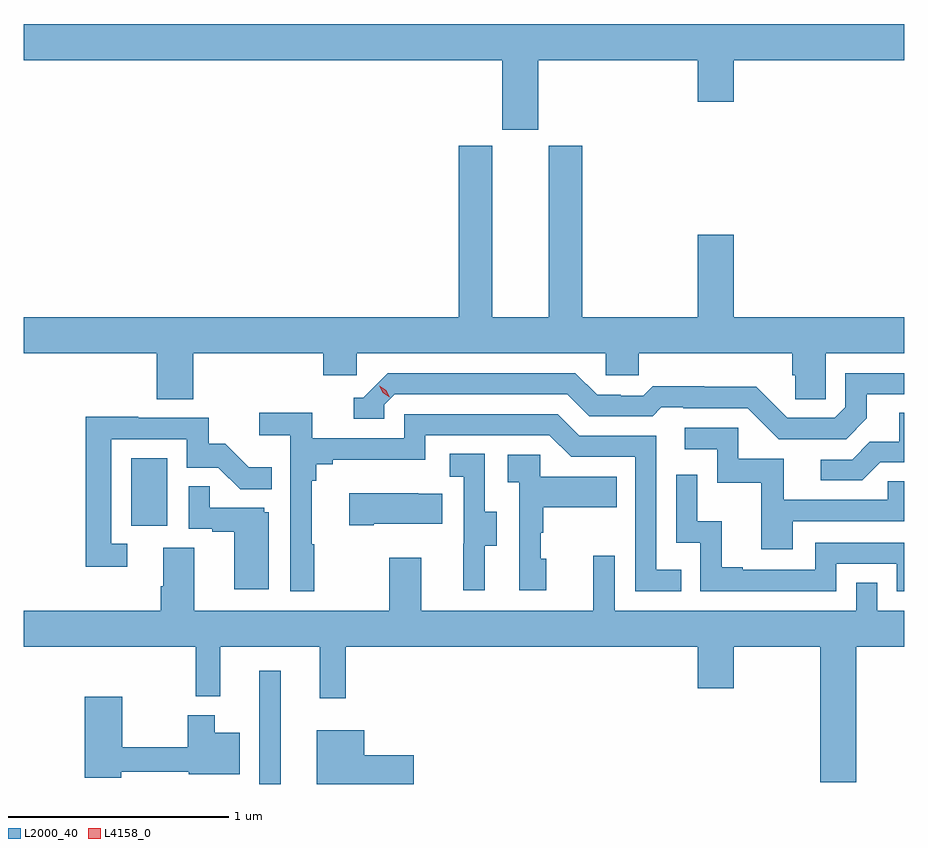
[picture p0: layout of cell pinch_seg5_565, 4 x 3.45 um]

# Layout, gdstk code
import gdstk
lib = gdstk.Library(unit=1e-6, precision=1e-09)
def R(c, l, rs):  # rectangles x0, y0, x1, y1
    for r in rs: c.add(gdstk.rectangle(r[:2], r[2:], *l))
def P(c, l, *ps):  # polygons
    for p in ps: c.add(gdstk.Polygon(p, *l))
L2000_40 = (2000, 40)
L4158_0 = (4158, 0)

pinch_seg5_565 = lib.new_cell('pinch_seg5_565')
R(pinch_seg5_565, L2000_40, [(1098.081,866.793,1098.178,867.307), (1097.498,867.966,1097.662,868.273)])
P(pinch_seg5_565, L2000_40, [(1099.348,870.08),(1100.072,870.08),(1100.072,869.892),(1100.236,869.892),(1100.236,870.08),(1101.01,870.08),(1101.01,870.244),(1097.01,870.244),(1097.01,870.08),(1099.184,870.08),(1099.184,869.763),(1099.348,869.763)],
  [(1099.653,868.65),(1099.803,868.65),(1099.803,868.748),(1100.501,868.748),(1100.501,868.65),(1100.515,868.65),(1100.515,868.54),(1100.652,868.54),(1100.652,868.748),(1101.01,868.748),(1101.01,868.912),(1100.236,868.912),(1100.236,869.287),(1100.072,869.287),(1100.072,868.912),(1099.547,868.912),(1099.547,869.691),(1099.394,869.691),(1099.394,868.912),(1099.138,868.912),(1099.138,869.691),(1098.986,869.691),(1098.986,868.912),(1097.01,868.912),(1097.01,868.748),(1097.615,868.748),(1097.615,868.54),(1097.78,868.54),(1097.78,868.748),(1098.371,868.748),(1098.371,868.65),(1098.522,868.65),(1098.522,868.748),(1099.653,868.748)],
  [(1100.839,868.453),(1100.839,868.563),(1101.01,868.563),(1101.01,868.659),(1100.742,868.659),(1100.742,868.503),(1100.694,868.455),(1100.478,868.455),(1100.336,868.597),(1100.1,868.597),(1100.1,868.6),(1099.867,868.6),(1099.825,868.557),(1099.722,868.557),(1099.722,868.56),(1099.615,868.56),(1099.516,868.659),(1098.663,868.659),(1098.552,868.548),(1098.509,868.548),(1098.509,868.452),(1098.648,868.452),(1098.648,868.515),(1098.696,868.563),(1099.479,868.563),(1099.578,868.464),(1099.867,868.464),(1099.906,868.503),(1100.005,868.503),(1100.005,868.5),(1100.298,868.5),(1100.439,868.359),(1100.745,868.359)],
  [(1100.899,868.254),(1101.01,868.254),(1101.01,868.478),(1100.987,868.478),(1100.987,868.346),(1100.852,868.346),(1100.772,868.266),(1100.631,868.266),(1100.631,868.173),(1100.818,868.173)],
  [(1098.331,867.881),(1098.319,867.881),(1098.319,868.169),(1098.338,868.169),(1098.338,868.246),(1098.415,868.246),(1098.415,868.265),(1098.834,868.265),(1098.834,868.377),(1099.398,868.377),(1099.497,868.278),(1099.788,868.278),(1099.788,867.669),(1099.997,867.669),(1099.997,867.765),(1099.884,867.765),(1099.884,868.374),(1099.534,868.374),(1099.435,868.473),(1098.738,868.473),(1098.738,868.362),(1098.32,868.362),(1098.32,868.478),(1098.081,868.478),(1098.081,868.376),(1098.222,868.376),(1098.222,867.669),(1098.331,867.669)],
  [(1097.482,867.885),(1097.409,867.885),(1097.409,868.359),(1097.751,868.359),(1097.751,868.23),(1097.895,868.23),(1097.993,868.132),(1098.137,868.132),(1098.137,868.231),(1098.033,868.231),(1097.926,868.338),(1097.85,868.338),(1097.85,868.455),(1097.531,868.455),(1097.531,868.46),(1097.293,868.46),(1097.293,867.78),(1097.482,867.78)],
  [(1100.503,867.987),(1101.01,867.987),(1101.01,868.167),(1100.935,868.167),(1100.935,868.083),(1100.461,868.083),(1100.461,868.269),(1100.256,868.269),(1100.256,868.41),(1100.013,868.41),(1100.013,868.314),(1100.16,868.314),(1100.16,868.161),(1100.359,868.161),(1100.359,867.858),(1100.503,867.858)],
  [(1099.105,867.874),(1099.159,867.874),(1099.159,868.029),(1099.104,868.029),(1099.104,868.292),(1098.945,868.292),(1098.945,868.189),(1099.008,868.189),(1099.008,867.885),(1099.007,867.885),(1099.007,867.672),(1099.105,867.672)],
  [(1099.384,867.816),(1099.359,867.816),(1099.359,867.935),(1099.369,867.935),(1099.369,868.049),(1099.703,868.049),(1099.703,868.189),(1099.356,868.189),(1099.356,868.287),(1099.209,868.287),(1099.209,868.163),(1099.26,868.163),(1099.26,867.672),(1099.384,867.672)],
  [(1100.7,867.792),(1100.976,867.792),(1100.976,867.669),(1101.01,867.669),(1101.01,867.888),(1100.604,867.888),(1100.604,867.765),(1100.275,867.765),(1100.275,867.778),(1100.18,867.778),(1100.18,867.986),(1100.07,867.986),(1100.07,868.198),(1099.974,868.198),(1099.974,867.888),(1100.082,867.888),(1100.082,867.669),(1100.7,867.669)],
  [(1098.124,868.026),(1098.102,868.026),(1098.102,868.047),(1097.855,868.047),(1097.855,868.145),(1097.76,868.145),(1097.76,867.951),(1097.867,867.951),(1097.867,867.939),(1097.966,867.939),(1097.966,867.678),(1098.124,867.678)],
  [(1098.601,867.974),(1098.911,867.974),(1098.911,868.111),(1098.803,868.111),(1098.803,868.114),(1098.489,868.114),(1098.489,867.967),(1098.601,867.967)],
  [(1100.791,867.416),(1101.01,867.416),(1101.01,867.58),(1100.886,867.58),(1100.886,867.707),(1100.79,867.707),(1100.79,867.58),(1099.695,867.58),(1099.695,867.829),(1099.598,867.829),(1099.598,867.58),(1098.817,867.58),(1098.817,867.82),(1098.67,867.82),(1098.67,867.58),(1097.785,867.58),(1097.785,867.866),(1097.645,867.866),(1097.645,867.692),(1097.633,867.692),(1097.633,867.58),(1097.01,867.58),(1097.01,867.416),(1097.793,867.416),(1097.793,867.191),(1097.903,867.191),(1097.903,867.416),(1098.356,867.416),(1098.356,867.183),(1098.473,867.183),(1098.473,867.416),(1100.072,867.416),(1100.072,867.228),(1100.236,867.228),(1100.236,867.416),(1100.627,867.416),(1100.627,866.802),(1100.791,866.802)],
  [(1097.454,866.849),(1097.76,866.849),(1097.76,866.837),(1097.992,866.837),(1097.992,867.025),(1097.878,867.025),(1097.878,867.106),(1097.756,867.106),(1097.756,866.959),(1097.458,866.959),(1097.458,867.19),(1097.288,867.19),(1097.288,866.822),(1097.454,866.822)],
  [(1098.781,866.924),(1098.556,866.924),(1098.556,867.037),(1098.341,867.037),(1098.341,866.793),(1098.781,866.793)])
P(pinch_seg5_565, L4158_0, [(1098.672,868.549),(1098.641,868.569),(1098.626,868.602),(1098.626,868.602),(1098.626,868.602),(1098.656,868.582),(1098.672,868.549),(1098.672,868.549)])

lib.write_gds('pinch_seg5_565.gds')
